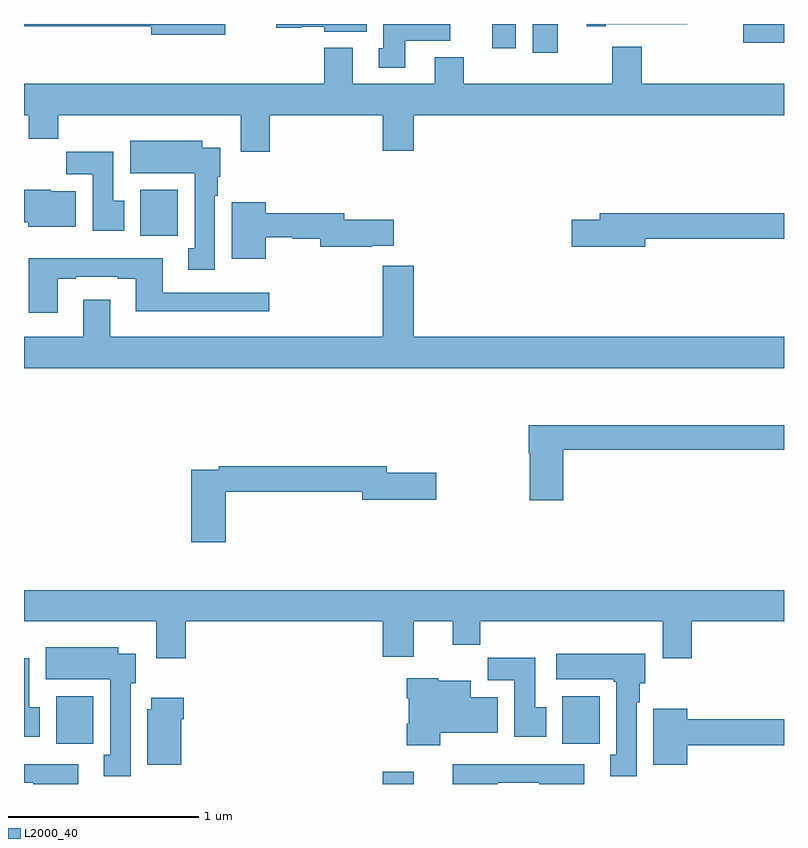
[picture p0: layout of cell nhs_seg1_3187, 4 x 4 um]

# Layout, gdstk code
import gdstk
lib = gdstk.Library(unit=1e-6, precision=1e-09)
def R(c, l, rs):  # rectangles x0, y0, x1, y1
    for r in rs: c.add(gdstk.rectangle(r[:2], r[2:], *l))
def P(c, l, *ps):  # polygons
    for p in ps: c.add(gdstk.Polygon(p, *l))
L2000_40 = (2000, 40)

nhs_seg1_3187 = lib.new_cell('nhs_seg1_3187')
R(nhs_seg1_3187, L2000_40, [(284.888,560.199,285.052,560.263), (283.169,560.412,283.365,560.662), (285.833,560.412,286.029,560.662), (283.613,563.084,283.81,563.326), (285.677,564.048,285.808,564.199), (285.464,564.072,285.589,564.199)])
P(nhs_seg1_3187, L2000_40, [(284.059,564.199),(283,564.199),(283,564.186),(283.67,564.186),(283.67,564.143),(284.059,564.143)],
  [(287,564.198),(286.887,564.198),(286.887,564.199),(286.786,564.199),(286.786,564.101),(287,564.101)],
  [(286.063,564.198),(286.492,564.198),(286.492,564.199),(285.963,564.199),(285.963,564.186),(286.063,564.186)],
  [(284.803,564.199),(284.328,564.199),(284.328,564.178),(284.46,564.178),(284.46,564.185),(284.58,564.185),(284.58,564.158),(284.803,564.158)],
  [(285.007,564.11),(285.243,564.11),(285.243,564.199),(284.891,564.199),(284.891,564.072),(284.867,564.072),(284.867,563.97),(285.007,563.97)],
  [(284.294,563.72),(284.888,563.72),(284.888,563.532),(285.052,563.532),(285.052,563.72),(287,563.72),(287,563.884),(286.25,563.884),(286.25,564.079),(286.097,564.079),(286.097,563.884),(285.314,563.884),(285.314,564.025),(285.161,564.025),(285.161,563.884),(284.731,563.884),(284.731,564.073),(284.579,564.073),(284.579,563.884),(283,563.884),(283,563.72),(283.025,563.72),(283.025,563.596),(283.181,563.596),(283.181,563.72),(284.141,563.72),(284.141,563.526),(284.294,563.526)],
  [(284.005,563.294),(284.02,563.294),(284.02,563.394),(284.032,563.394),(284.032,563.548),(283.939,563.548),(283.939,563.584),(283.559,563.584),(283.559,563.414),(283.898,563.414),(283.898,563.018),(283.865,563.018),(283.865,562.905),(284.005,562.905)],
  [(283.528,563.268),(283.471,563.268),(283.471,563.526),(283.222,563.526),(283.222,563.408),(283.361,563.408),(283.361,563.112),(283.528,563.112)],
  [(283.273,563.32),(283.14,563.32),(283.14,563.326),(283,563.326),(283,563.156),(283.022,563.156),(283.022,563.132),(283.273,563.132)],
  [(284.272,563.076),(284.415,563.076),(284.415,563.068),(284.558,563.068),(284.558,563.026),(284.834,563.026),(284.834,563.033),(284.947,563.033),(284.947,563.168),(284.686,563.168),(284.686,563.204),(284.272,563.204),(284.272,563.26),(284.093,563.26),(284.093,562.964),(284.272,562.964)],
  [(286.27,563.068),(287,563.068),(287,563.204),(286.031,563.204),(286.031,563.168),(285.882,563.168),(285.882,563.026),(286.27,563.026)],
  [(283.177,562.857),(283.273,562.857),(283.273,562.869),(283.493,562.869),(283.493,562.857),(283.589,562.857),(283.589,562.688),(284.29,562.688),(284.29,562.785),(283.729,562.785),(283.729,562.966),(283.025,562.966),(283.025,562.68),(283.177,562.68)],
  [(287,562.552),(285.052,562.552),(285.052,562.927),(284.888,562.927),(284.888,562.552),(283.453,562.552),(283.453,562.747),(283.313,562.747),(283.313,562.552),(283,562.552),(283,562.388),(287,562.388)],
  [(285.839,561.958),(287,561.958),(287,562.087),(285.656,562.087),(285.656,561.941),(285.661,561.941),(285.661,561.693),(285.839,561.693)],
  [(284.063,561.736),(284.78,561.736),(284.78,561.694),(285.169,561.694),(285.169,561.836),(284.908,561.836),(284.908,561.872),(284.026,561.872),(284.026,561.852),(283.88,561.852),(283.88,561.471),(284.063,561.471)],
  [(283,561.056),(283.697,561.056),(283.697,560.862),(283.85,560.862),(283.85,561.056),(284.888,561.056),(284.888,560.868),(285.052,560.868),(285.052,561.056),(285.257,561.056),(285.257,560.932),(285.401,560.932),(285.401,561.056),(286.361,561.056),(286.361,560.862),(286.514,560.862),(286.514,561.056),(287,561.056),(287,561.22),(283,561.22)],
  [(283.561,560.73),(283.588,560.73),(283.588,560.884),(283.495,560.884),(283.495,560.92),(283.115,560.92),(283.115,560.75),(283.454,560.75),(283.454,560.353),(283.421,560.353),(283.421,560.241),(283.561,560.241)],
  [(286.225,560.63),(286.24,560.63),(286.24,560.73),(286.27,560.73),(286.27,560.884),(285.801,560.884),(285.801,560.75),(286.105,560.75),(286.105,560.737),(286.118,560.737),(286.118,560.353),(286.085,560.353),(286.085,560.241),(286.225,560.241)],
  [(285.748,560.604),(285.691,560.604),(285.691,560.863),(285.442,560.863),(285.442,560.744),(285.581,560.744),(285.581,560.448),(285.748,560.448)],
  [(283.084,560.604),(283.027,560.604),(283.027,560.862),(283,560.862),(283,560.448),(283.084,560.448)],
  [(285.192,560.468),(285.493,560.468),(285.493,560.656),(285.352,560.656),(285.352,560.743),(285.18,560.743),(285.18,560.755),(285.014,560.755),(285.014,560.651),(285.026,560.651),(285.026,560.515),(285.014,560.515),(285.014,560.403),(285.192,560.403)],
  [(283.828,560.54),(283.841,560.54),(283.841,560.653),(283.67,560.653),(283.67,560.592),(283.649,560.592),(283.649,560.3),(283.828,560.3)],
  [(286.492,560.404),(287,560.404),(287,560.54),(286.492,560.54),(286.492,560.596),(286.313,560.596),(286.313,560.3),(286.492,560.3)],
  [(285.493,560.205),(285.713,560.205),(285.713,560.199),(285.949,560.199),(285.949,560.302),(285.257,560.302),(285.257,560.199),(285.493,560.199)],
  [(283.285,560.302),(283,560.302),(283,560.205),(283.049,560.205),(283.049,560.199),(283.285,560.199)])

lib.write_gds('nhs_seg1_3187.gds')
